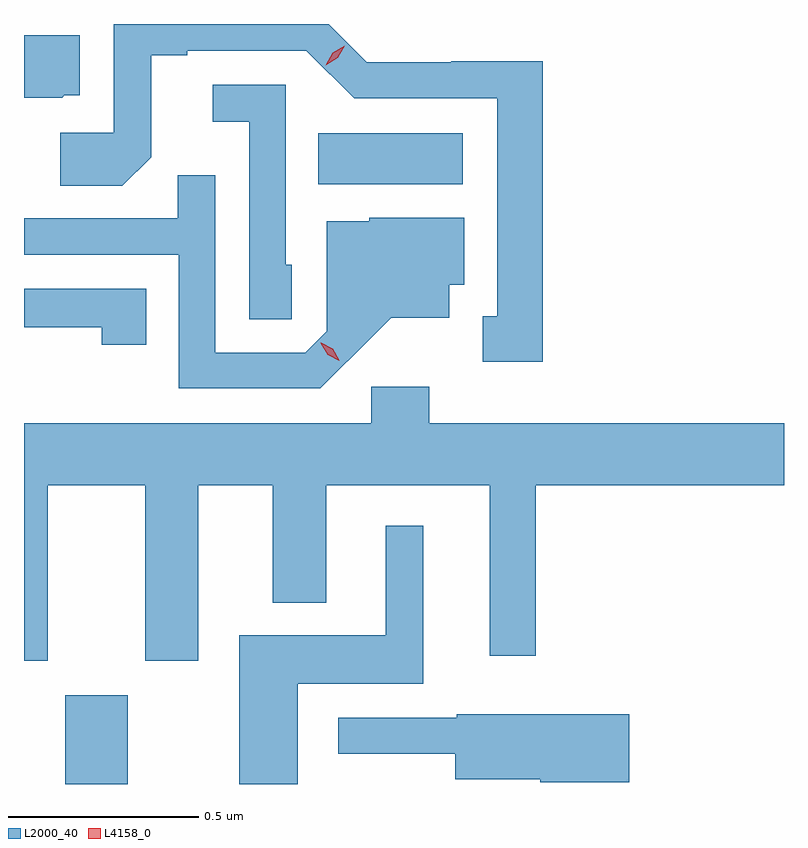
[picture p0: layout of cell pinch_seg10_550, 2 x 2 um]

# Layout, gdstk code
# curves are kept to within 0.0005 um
import gdstk
lib = gdstk.Library(unit=1e-6, precision=1e-09)
def R(c, l, rs):  # rectangles x0, y0, x1, y1
    for r in rs: c.add(gdstk.rectangle(r[:2], r[2:], *l))
def P(c, l, *ps):  # polygons
    for p in ps: c.add(gdstk.Polygon(p, *l))
L2000_40 = (2000, 40)
L4158_0 = (4158, 0)

pinch_seg10_550 = lib.new_cell('pinch_seg10_550')
R(pinch_seg10_550, L2000_40, [(233.273,1256.906,233.437,1257.139), (233.938,1258.484,234.319,1258.618)])
P(pinch_seg10_550, L2000_40, [(234.529,1258.808),(234.288,1258.808),(234.288,1258.806),(234.066,1258.806),(233.966,1258.906),(233.4,1258.906),(233.4,1258.62),(233.259,1258.62),(233.259,1258.48),(233.423,1258.48),(233.499,1258.556),(233.499,1258.824),(233.593,1258.824),(233.593,1258.836),(233.907,1258.836),(234.033,1258.71),(234.41,1258.71),(234.41,1258.137),(234.371,1258.137),(234.371,1258.017),(234.529,1258.017)],
  [(233.27,1258.718),(233.311,1258.718),(233.311,1258.876),(233.164,1258.876),(233.164,1258.712),(233.264,1258.712)],
  [(233.868,1258.272),(233.853,1258.272),(233.853,1258.746),(233.661,1258.746),(233.661,1258.649),(233.757,1258.649),(233.757,1258.129),(233.868,1258.129)],
  [(234.001,1258.005),(234.131,1258.133),(234.283,1258.133),(234.283,1258.22),(234.322,1258.22),(234.322,1258.396),(234.072,1258.396),(234.072,1258.387),(233.961,1258.387),(233.961,1258.098),(233.904,1258.041),(233.667,1258.041),(233.667,1258.508),(233.569,1258.508),(233.569,1258.395),(233.164,1258.395),(233.164,1258.299),(233.571,1258.299),(233.571,1257.948),(233.944,1257.948)],
  [(233.486,1258.209),(233.164,1258.209),(233.164,1258.108),(233.368,1258.108),(233.368,1258.062),(233.486,1258.062)],
  [(233.227,1257.692),(233.483,1257.692),(233.483,1257.231),(233.623,1257.231),(233.623,1257.692),(233.819,1257.692),(233.819,1257.383),(233.959,1257.383),(233.959,1257.692),(234.389,1257.692),(234.389,1257.243),(234.511,1257.243),(234.511,1257.692),(235.164,1257.692),(235.164,1257.856),(234.23,1257.856),(234.23,1257.952),(234.078,1257.952),(234.078,1257.856),(233.164,1257.856),(233.164,1257.231),(233.227,1257.231)],
  [(233.884,1257.17),(234.214,1257.17),(234.214,1257.586),(234.116,1257.586),(234.116,1257.298),(233.731,1257.298),(233.731,1256.906),(233.884,1256.906)],
  [(234.757,1257.089),(234.303,1257.089),(234.303,1257.081),(233.991,1257.081),(233.991,1256.985),(234.299,1256.985),(234.299,1256.918),(234.522,1256.918),(234.522,1256.911),(234.757,1256.911)])
P(pinch_seg10_550, L4158_0, [(233.958,1258.798),(233.958,1258.798),(233.976,1258.831),(234.008,1258.849),(234.008,1258.849),(234.008,1258.849),(233.99,1258.817),(233.958,1258.798)],
  [(233.993,1258.02),(233.963,1258.036),(233.945,1258.066),(233.945,1258.067),(233.946,1258.067),(233.976,1258.051),(233.994,1258.021),(233.994,1258.02)])

lib.write_gds('pinch_seg10_550.gds')
